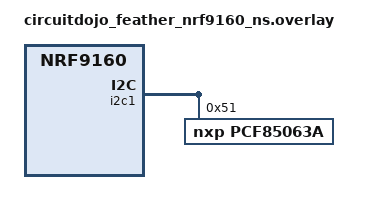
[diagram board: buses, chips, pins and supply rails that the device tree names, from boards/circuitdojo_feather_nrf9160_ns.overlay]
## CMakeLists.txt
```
# SPDX-License-Identifier: Apache-2.0

cmake_minimum_required(VERSION 3.13.1)



find_package(Zephyr HINTS $ENV{ZEPHYR_BASE})
project(external_rtc)

target_sources(app PRIVATE src/main.c)
```

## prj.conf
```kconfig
CONFIG_GPIO=y

# Log
CONFIG_LOG=y
CONFIG_LOG_MODE_IMMEDIATE=y

# Enable Zephyr application to be booted by MCUboot
CONFIG_BOOTLOADER_MCUBOOT=y

# Adding Peripherals
CONFIG_I2C=y

# RTC
CONFIG_COUNTER=y
CONFIG_PCF85063A=y
```

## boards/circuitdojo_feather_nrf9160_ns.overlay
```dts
/*
 * Copyright (c) 2020 Circuit Dojo LLC
 *
 * SPDX-License-Identifier: Apache-2.0
 */


/ {
	aliases {
		rtc0 = &pcf85063a;
	};
};

&i2c1 {
	pcf85063a: pcf85063a@51 {
		compatible = "nxp,pcf85063a";
		reg = <0x51>;
	};
};
```

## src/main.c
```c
/*
 * Copyright (c) 2020 Circuit Dojo LLC
 *
 * SPDX-License-Identifier: Apache-2.0
 */

#include <zephyr/kernel.h>
#include <zephyr/device.h>
#include <zephyr/drivers/gpio.h>
#include <zephyr/sys/util.h>
#include <zephyr/sys/printk.h>
#include <zephyr/drivers/counter.h>

#include <zephyr/logging/log.h>
LOG_MODULE_REGISTER(main);

/* RTC control */
static const struct device *rtc = DEVICE_DT_GET(DT_ALIAS(rtc0));

static void rtc_init()
{

	/* Check if ready*/
	if (!device_is_ready(rtc))
	{
		LOG_ERR("RTC is not ready!");
	}

	/* 2 seconds */
	const struct counter_alarm_cfg cfg = {
		.ticks = 10,
	};

	/* Set the alarm */
	int ret = counter_set_channel_alarm(rtc, 0, &cfg);
	if (ret)
	{
		LOG_ERR("Unable to set alarm");
	}
}

static bool timer_flag = false;

int main(void)
{

	/* Init RTC */
	rtc_init();

	while (true)
	{
		if (!timer_flag)
		{
			int ret = counter_get_pending_int(rtc);

			if (ret == 1)
			{
				LOG_INF("Timer event!");

				timer_flag = true;

				int ret = counter_cancel_channel_alarm(rtc, 0);
				if (ret)
				{
					LOG_ERR("Unable to cancel channel alarm!");
				}
			}
		}

		k_sleep(K_MSEC(100));
	}

	return 0;
}
```
